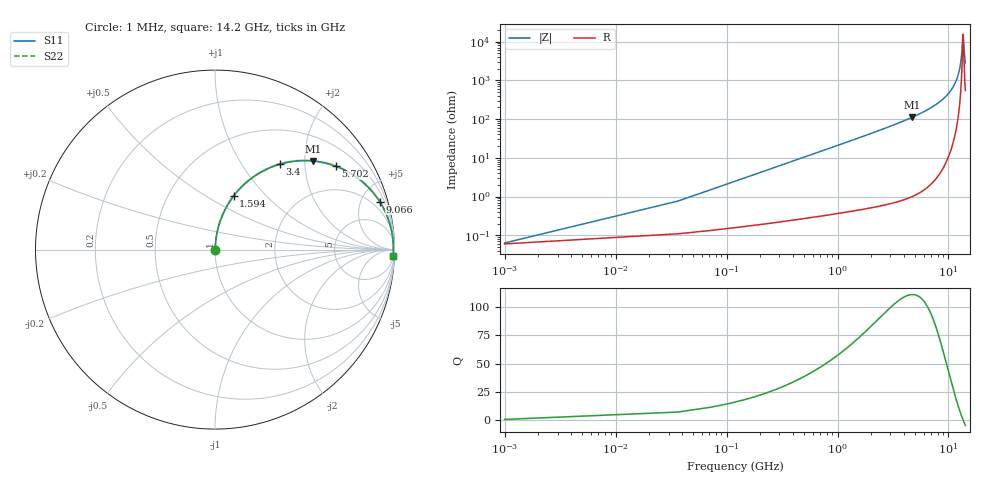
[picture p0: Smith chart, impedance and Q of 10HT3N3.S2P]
! Coilcraft 1008HT-3N3 Chip Inductor
! 16 July 2002
# MHZ S MA R 50
!Freq  MagS11  AngS11  MagS21  AngS21  MagS12  AngS12  MagS22  AngS22
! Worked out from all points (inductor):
!   402 points, 1 MHz to 14.2 GHz, reference 50 ohm
!   read as one part in series: L = 3.3 nH near 71.82 MHz
!   highest Q = 111 at 4.675 GHz (marker M1), where L = 3.75 nH
!   self-resonance near 13.49 GHz
!   S11 on the Smith chart (normalised r, x): 1 MHz: 1.00, +0.00; 1.594 GHz: 1.01, +0.67; 3.4 GHz: 1.01, +1.51; 5.702 GHz: 1.03, +2.88; 9.066 GHz: 1.12, +6.83; 14.2 GHz: 12, -55
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1  0.0006325 19.1  0.9994 -0.0  0.9994 -0.0  0.0006325 19.1
107.23  0.02225 84.8  0.9982 -1.3  0.9982 -1.3  0.02225 84.8
178.05  0.03688 85.1  0.9975 -2.1  0.9975 -2.1  0.03688 85.1
319.69  0.06607 84.3  0.9956 -3.8  0.9956 -3.8  0.06607 84.3
780.02  0.1597 79.7  0.984 -9.2  0.984 -9.2  0.1597 79.7
1594.45  0.3166 70.8  0.9443 -18.5  0.9443 -18.5  0.3166 70.8
2373.47  0.4508 62.6  0.8877 -26.8  0.8877 -26.8  0.4508 62.6
3400.36  0.5986 52.7  0.7953 -36.8  0.7953 -36.8  0.5986 52.7
4675.12  0.737 42.0  0.6693 -47.5  0.6693 -47.5  0.737 42.0
4745.94  0.7433 41.5  0.6623 -48.0  0.6623 -48.0  0.7433 41.5
5702.01  0.8175 34.6  0.5684 -54.8  0.5684 -54.8  0.8175 34.6
7118.41  0.8943 26.0  0.4379 -63.4  0.4379 -63.4  0.8943 26.0
9065.96  0.9553 16.2  0.2797 -72.8  0.2797 -72.8  0.9553 16.2
9490.88  0.9638 14.4  0.2484 -74.5  0.2484 -74.5  0.9638 14.4
11863.35  0.9901 5.3  0.09275 -81.2  0.09275 -81.2  0.9901 5.3
12465.32  0.9924 3.3  0.05787 -80.8  0.05787 -80.8  0.9924 3.3
12890.24  0.9933 1.9  0.03437 -77.8  0.03437 -77.8  0.9933 1.9
13173.52  0.9935 1.1  0.01945 -70.0  0.01945 -70.0  0.9935 1.1
13492.21  0.9935 0.1  0.006645 -12.6  0.006645 -12.6  0.9935 0.1
13598.44  0.9934 -0.2  0.00772 31.8  0.00772 31.8  0.9934 -0.2
13917.13  0.9931 -1.2  0.02158 70.6  0.02158 70.6  0.9931 -1.2
14200  0.9925 -2.0  0.03543 76.8  0.03543 76.8  0.9925 -2.0
